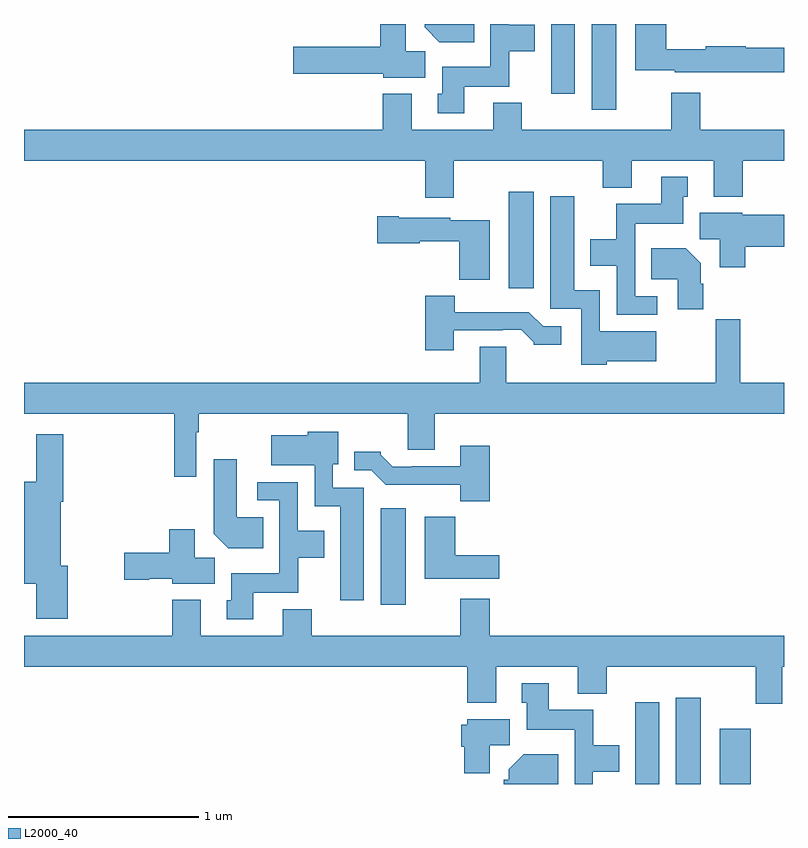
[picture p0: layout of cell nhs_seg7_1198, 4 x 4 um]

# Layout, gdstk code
import gdstk
lib = gdstk.Library(unit=1e-6, precision=1e-09)
def R(c, l, rs):  # rectangles x0, y0, x1, y1
    for r in rs: c.add(gdstk.rectangle(r[:2], r[2:], *l))
def P(c, l, *ps):  # polygons
    for p in ps: c.add(gdstk.Polygon(p, *l))
L2000_40 = (2000, 40)

nhs_seg7_1198 = lib.new_cell('nhs_seg7_1198')
R(nhs_seg7_1198, L2000_40, [(198.218,1000,198.343,1000.429), (198.431,1000,198.562,1000.453), (196.877,1000.944,197.008,1001.452), (197.552,1002.609,197.683,1003.117), (197.987,1003.548,198.118,1004), (197.774,1003.632,197.899,1004)])
P(nhs_seg7_1198, L2000_40, [(197.369,1004),(197.108,1004),(197.108,1003.982),(197.186,1003.904),(197.369,1003.904)],
  [(197.317,1003.67),(197.553,1003.67),(197.553,1003.856),(197.689,1003.856),(197.689,1003.996),(197.55,1003.996),(197.55,1004),(197.454,1004),(197.454,1003.774),(197.201,1003.774),(197.201,1003.632),(197.177,1003.632),(197.177,1003.53),(197.317,1003.53)],
  [(197.113,1003.856),(197.008,1003.856),(197.008,1004),(196.874,1004),(196.874,1003.88),(196.416,1003.88),(196.416,1003.738),(196.89,1003.738),(196.89,1003.718),(197.113,1003.718)],
  [(198.698,1003.746),(199,1003.746),(199,1003.874),(198.798,1003.874),(198.798,1003.882),(198.588,1003.882),(198.588,1003.867),(198.38,1003.867),(198.38,1004),(198.218,1004),(198.218,1003.757),(198.426,1003.757),(198.426,1003.745),(198.698,1003.745)],
  [(197.263,1003.28),(198.047,1003.28),(198.047,1003.139),(198.199,1003.139),(198.199,1003.28),(198.629,1003.28),(198.629,1003.091),(198.782,1003.091),(198.782,1003.28),(199,1003.28),(199,1003.444),(198.56,1003.444),(198.56,1003.639),(198.407,1003.639),(198.407,1003.444),(197.619,1003.444),(197.619,1003.585),(197.471,1003.585),(197.471,1003.444),(197.041,1003.444),(197.041,1003.633),(196.889,1003.633),(196.889,1003.444),(195,1003.444),(195,1003.28),(197.111,1003.28),(197.111,1003.086),(197.263,1003.086)],
  [(198.334,1002.567),(198.216,1002.567),(198.216,1002.95),(198.469,1002.95),(198.469,1003.092),(198.493,1003.092),(198.493,1003.195),(198.353,1003.195),(198.353,1003.054),(198.118,1003.054),(198.118,1002.868),(197.981,1002.868),(197.981,1002.728),(198.12,1002.728),(198.12,1002.471),(198.334,1002.471)],
  [(198.066,1002.224),(198.328,1002.224),(198.328,1002.382),(198.03,1002.382),(198.03,1002.598),(197.896,1002.598),(197.896,1003.093),(197.771,1003.093),(197.771,1002.501),(197.934,1002.501),(197.934,1002.206),(198.066,1002.206)],
  [(198.797,1002.827),(199,1002.827),(199,1002.997),(198.78,1002.997),(198.78,1003.006),(198.557,1003.006),(198.557,1002.868),(198.662,1002.868),(198.662,1002.72),(198.797,1002.72)],
  [(197.452,1002.967),(197.244,1002.967),(197.244,1002.979),(196.972,1002.979),(196.972,1002.987),(196.86,1002.987),(196.86,1002.845),(197.082,1002.845),(197.082,1002.857),(197.29,1002.857),(197.29,1002.653),(197.452,1002.653)],
  [(198.575,1002.632),(198.562,1002.632),(198.562,1002.742),(198.484,1002.82),(198.301,1002.82),(198.301,1002.656),(198.44,1002.656),(198.44,1002.498),(198.575,1002.498)],
  [(197.263,1002.387),(197.519,1002.387),(197.519,1002.39),(197.618,1002.39),(197.682,1002.326),(197.682,1002.311),(197.827,1002.311),(197.827,1002.408),(197.733,1002.408),(197.657,1002.484),(197.266,1002.484),(197.266,1002.571),(197.111,1002.571),(197.111,1002.282),(197.263,1002.282)],
  [(195.906,1001.852),(195.919,1001.852),(195.919,1001.948),(197.021,1001.948),(197.021,1001.758),(197.161,1001.758),(197.161,1001.948),(199,1001.948),(199,1002.112),(198.77,1002.112),(198.77,1002.445),(198.642,1002.445),(198.642,1002.112),(197.539,1002.112),(197.539,1002.302),(197.399,1002.302),(197.399,1002.112),(195,1002.112),(195,1001.948),(195.79,1001.948),(195.79,1001.616),(195.906,1001.616)],
  [(196.789,1001.559),(196.626,1001.559),(196.626,1001.682),(196.654,1001.682),(196.654,1001.854),(196.494,1001.854),(196.494,1001.836),(196.302,1001.836),(196.302,1001.678),(196.53,1001.678),(196.53,1001.462),(196.664,1001.462),(196.664,1000.968),(196.789,1000.968)],
  [(195.23,1001.148),(195.193,1001.148),(195.193,1001.486),(195.206,1001.486),(195.206,1001.842),(195.065,1001.842),(195.065,1001.59),(195,1001.59),(195,1001.055),(195.065,1001.055),(195.065,1000.869),(195.23,1000.869)],
  [(197.45,1001.779),(197.297,1001.779),(197.297,1001.673),(197.041,1001.673),(197.041,1001.67),(196.942,1001.67),(196.878,1001.734),(196.878,1001.749),(196.739,1001.749),(196.739,1001.652),(196.827,1001.652),(196.903,1001.576),(197.295,1001.576),(197.295,1001.489),(197.45,1001.489)],
  [(196.259,1001.404),(196.12,1001.404),(196.12,1001.71),(195.998,1001.71),(195.998,1001.318),(196.076,1001.24),(196.259,1001.24)],
  [(196.207,1001.006),(196.443,1001.006),(196.443,1001.192),(196.579,1001.192),(196.579,1001.332),(196.44,1001.332),(196.44,1001.589),(196.227,1001.589),(196.227,1001.493),(196.344,1001.493),(196.344,1001.11),(196.091,1001.11),(196.091,1000.968),(196.067,1000.968),(196.067,1000.866),(196.207,1000.866)],
  [(197.5,1001.203),(197.27,1001.203),(197.27,1001.407),(197.108,1001.407),(197.108,1001.081),(197.5,1001.081)],
  [(196.003,1001.192),(195.898,1001.192),(195.898,1001.341),(195.764,1001.341),(195.764,1001.216),(195.528,1001.216),(195.528,1001.074),(195.66,1001.074),(195.66,1001.081),(195.78,1001.081),(195.78,1001.054),(196.003,1001.054)],
  [(197.45,1000.975),(197.297,1000.975),(197.297,1000.78),(196.514,1000.78),(196.514,1000.921),(196.361,1000.921),(196.361,1000.78),(195.931,1000.78),(195.931,1000.969),(195.779,1000.969),(195.779,1000.78),(195,1000.78),(195,1000.616),(197.333,1000.616),(197.333,1000.427),(197.485,1000.427),(197.485,1000.616),(197.915,1000.616),(197.915,1000.475),(198.068,1000.475),(198.068,1000.616),(198.851,1000.616),(198.851,1000.422),(198.991,1000.422),(198.991,1000.616),(199,1000.616),(199,1000.78),(197.45,1000.78)],
  [(197.994,1000.064),(198.133,1000.064),(198.133,1000.204),(197.997,1000.204),(197.997,1000.39),(197.761,1000.39),(197.761,1000.531),(197.621,1000.531),(197.621,1000.428),(197.645,1000.428),(197.645,1000.286),(197.898,1000.286),(197.898,1000),(197.994,1000)],
  [(197.45,1000.204),(197.557,1000.204),(197.557,1000.342),(197.334,1000.342),(197.334,1000.311),(197.3,1000.311),(197.3,1000.197),(197.318,1000.197),(197.318,1000.056),(197.45,1000.056)],
  [(198.824,1000.137),(198.826,1000.137),(198.826,1000.291),(198.662,1000.291),(198.662,1000),(198.824,1000)],
  [(197.813,1000.156),(197.63,1000.156),(197.552,1000.078),(197.552,1000.023),(197.524,1000.023),(197.524,1000),(197.813,1000)])

lib.write_gds('nhs_seg7_1198.gds')
